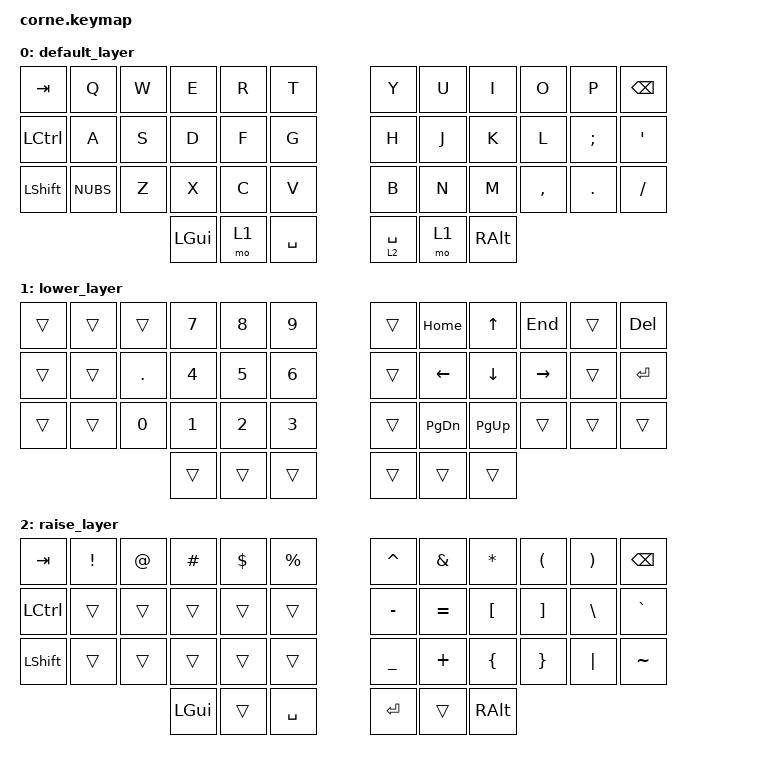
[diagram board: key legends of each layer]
// #include "../../../corne.keymap"

/*
 * Copyright (c) 2020 The ZMK Contributors
 *
 * SPDX-License-Identifier: MIT
 */

#include <behaviors.dtsi>
#include <dt-bindings/zmk/keys.h>
#include <dt-bindings/zmk/bt.h>

/ {
        keymap {
                compatible = "zmk,keymap";

                default_layer {
                        bindings = <
   &kp TAB      &kp Q       &kp W   &kp E   &kp R   &kp T                       &kp Y   &kp U   &kp I   &kp O       &kp P       &kp BSPC
   &kp LCTRL    &kp A       &kp S   &kp D   &kp F   &kp G                       &kp H   &kp J   &kp K   &kp L       &kp SEMI    &kp SQT
   &kp LSHFT    &kp NUBS    &kp Z   &kp X   &kp C   &kp V                       &kp B   &kp N   &kp M   &kp COMMA   &kp DOT     &kp FSLH
                                    &kp LGUI &mo 1  &kp SPACE       &lt 2 SPACE &mo 1   &kp RALT
                        >;
                };
                lower_layer {
// -----------------------------------------------------------------------------------------
// |  TAB |  1  |  2  |  3  |  4  |  5  |   |  6  |  7  |  8  |  9  |  0  | BKSP |
// | BTCLR| BT1 | BT2 | BT3 | BT4 | BT5 |   | LFT | DWN |  UP | RGT |     |      |
// | SHFT |     |     |     |     |     |   |     |     |     |     |     |      |
//                    | GUI |     | SPC |   | ENT |     | ALT |
                        bindings = <
    &trans  &trans  &trans      &kp N7  &kp N8  &kp N9                      &trans  &kp HOME    &kp UP      &kp END     &trans  &kp DELETE
    &trans  &trans  &kp DOT     &kp N4  &kp N5  &kp N6                      &trans  &kp LEFT    &kp DOWN    &kp RIGHT   &trans  &kp RET
    &trans  &trans  &kp N0      &kp N1  &kp N2  &kp N3                      &trans  &kp PG_DN   &kp PG_UP   &trans      &trans  &trans
                                        &trans  &trans  &trans      &trans  &trans  &trans
                        >;
                };

                raise_layer {
// -----------------------------------------------------------------------------------------
// |  TAB |  !  |  @  |  #  |  $  |  %  |   |  ^  |  &  |  *  |  (  |  )  | BKSP |
// | CTRL |     |     |     |     |     |   |  -  |  =  |  [  |  ]  |  \  |  `   |
// | SHFT |     |     |     |     |     |   |  _  |  +  |  {  |  }  | "|" |  ~   |
//                    | GUI |     | SPC |   | ENT |     | ALT |
                        bindings = <
   &kp  TAB  &kp EXCL &kp AT &kp HASH &kp DLLR &kp PRCNT   &kp CARET &kp AMPS  &kp ASTRK &kp LPAR &kp RPAR &kp BSPC
   &kp LCTRL &trans   &trans &trans   &trans   &trans      &kp MINUS &kp EQUAL &kp LBKT  &kp RBKT &kp BSLH &kp GRAVE
   &kp LSHFT &trans   &trans &trans   &trans   &trans      &kp UNDER &kp PLUS  &kp LBRC  &kp RBRC &kp PIPE &kp TILDE
                             &kp LGUI &trans   &kp SPACE   &kp RET   &trans    &kp RALT
                        >;
                };
        };
};
